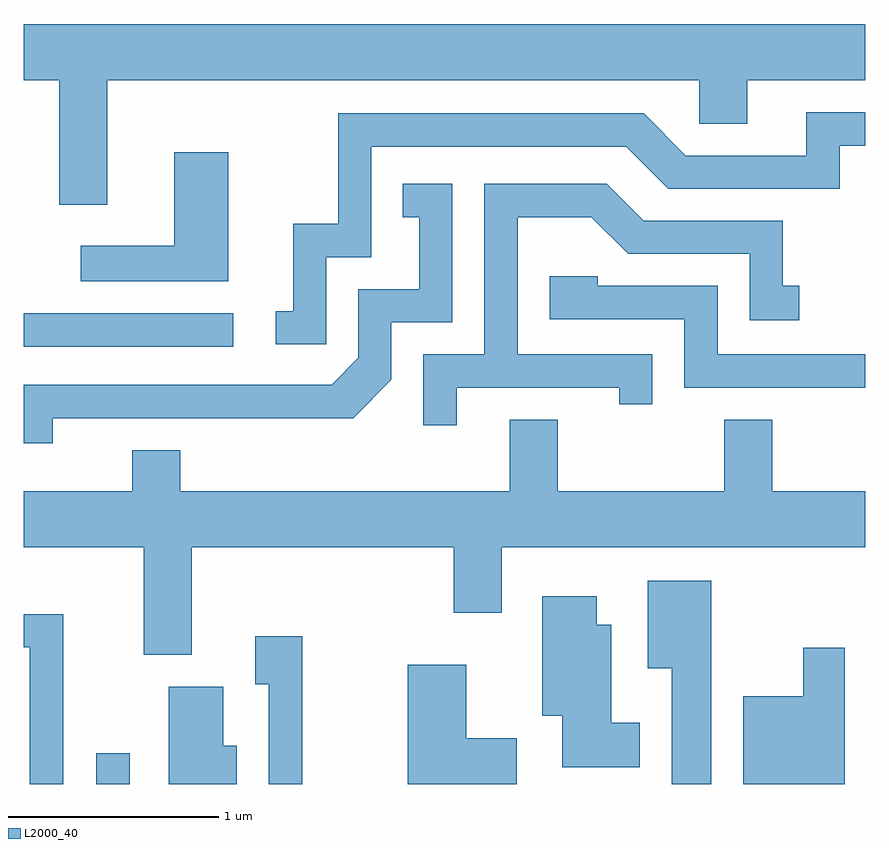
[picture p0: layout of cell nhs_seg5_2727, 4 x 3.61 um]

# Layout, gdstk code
import gdstk
lib = gdstk.Library(unit=1e-6, precision=1e-09)
def R(c, l, rs):  # rectangles x0, y0, x1, y1
    for r in rs: c.add(gdstk.rectangle(r[:2], r[2:], *l))
def P(c, l, *ps):  # polygons
    for p in ps: c.add(gdstk.Polygon(p, *l))
L2000_40 = (2000, 40)

nhs_seg5_2727 = lib.new_cell('nhs_seg5_2727')
R(nhs_seg5_2727, L2000_40, [(265.956,1500.072,266.114,1500.218), (265.611,1502.151,266.608,1502.309)])
P(nhs_seg5_2727, L2000_40, [(266.009,1503.416),(268.821,1503.416),(268.821,1503.211),(269.049,1503.211),(269.049,1503.416),(269.611,1503.416),(269.611,1503.684),(265.611,1503.684),(265.611,1503.416),(265.781,1503.416),(265.781,1502.826),(266.009,1502.826)],
  [(267.049,1502.576),(267.264,1502.576),(267.264,1503.101),(268.474,1503.101),(268.674,1502.901),(269.489,1502.901),(269.489,1503.106),(269.611,1503.106),(269.611,1503.264),(269.331,1503.264),(269.331,1503.059),(268.757,1503.059),(268.557,1503.259),(267.106,1503.259),(267.106,1502.734),(266.891,1502.734),(266.891,1502.319),(266.808,1502.319),(266.808,1502.161),(267.049,1502.161)],
  [(266.584,1503.074),(266.326,1503.074),(266.326,1502.629),(265.883,1502.629),(265.883,1502.461),(266.584,1502.461)],
  [(267.669,1501.956),(268.441,1501.956),(268.441,1501.878),(268.599,1501.878),(268.599,1502.114),(267.959,1502.114),(267.959,1502.766),(268.309,1502.766),(268.484,1502.591),(269.061,1502.591),(269.061,1502.276),(269.298,1502.276),(269.298,1502.439),(269.219,1502.439),(269.219,1502.749),(268.557,1502.749),(268.382,1502.924),(267.801,1502.924),(267.801,1502.114),(267.511,1502.114),(267.511,1501.778),(267.669,1501.778)],
  [(265.749,1501.811),(267.177,1501.811),(267.359,1501.994),(267.359,1502.266),(267.649,1502.266),(267.649,1502.924),(267.413,1502.924),(267.413,1502.766),(267.491,1502.766),(267.491,1502.424),(267.201,1502.424),(267.201,1502.097),(267.074,1501.969),(265.611,1501.969),(265.611,1501.691),(265.749,1501.691)],
  [(269.611,1502.114),(268.909,1502.114),(268.909,1502.439),(268.339,1502.439),(268.339,1502.484),(268.111,1502.484),(268.111,1502.281),(268.751,1502.281),(268.751,1501.956),(269.611,1501.956)],
  [(266.409,1501.196),(267.656,1501.196),(267.656,1500.886),(267.884,1500.886),(267.884,1501.196),(269.611,1501.196),(269.611,1501.464),(269.169,1501.464),(269.169,1501.804),(268.941,1501.804),(268.941,1501.464),(268.149,1501.464),(268.149,1501.804),(267.921,1501.804),(267.921,1501.464),(266.354,1501.464),(266.354,1501.659),(266.126,1501.659),(266.126,1501.464),(265.611,1501.464),(265.611,1501.196),(266.181,1501.196),(266.181,1500.686),(266.409,1500.686)],
  [(268.879,1501.039),(268.576,1501.039),(268.576,1500.621),(268.691,1500.621),(268.691,1500.072),(268.879,1500.072)],
  [(268.539,1500.364),(268.404,1500.364),(268.404,1500.829),(268.334,1500.829),(268.334,1500.964),(268.076,1500.964),(268.076,1500.396),(268.171,1500.396),(268.171,1500.151),(268.539,1500.151)],
  [(265.799,1500.879),(265.611,1500.879),(265.611,1500.721),(265.641,1500.721),(265.641,1500.072),(265.799,1500.072)],
  [(266.934,1500.774),(266.711,1500.774),(266.711,1500.546),(266.776,1500.546),(266.776,1500.072),(266.934,1500.072)],
  [(269.514,1500.719),(269.316,1500.719),(269.316,1500.489),(269.031,1500.489),(269.031,1500.072),(269.514,1500.072)],
  [(267.954,1500.289),(267.714,1500.289),(267.714,1500.639),(267.436,1500.639),(267.436,1500.072),(267.954,1500.072)],
  [(266.624,1500.254),(266.559,1500.254),(266.559,1500.534),(266.301,1500.534),(266.301,1500.072),(266.624,1500.072)])

lib.write_gds('nhs_seg5_2727.gds')
